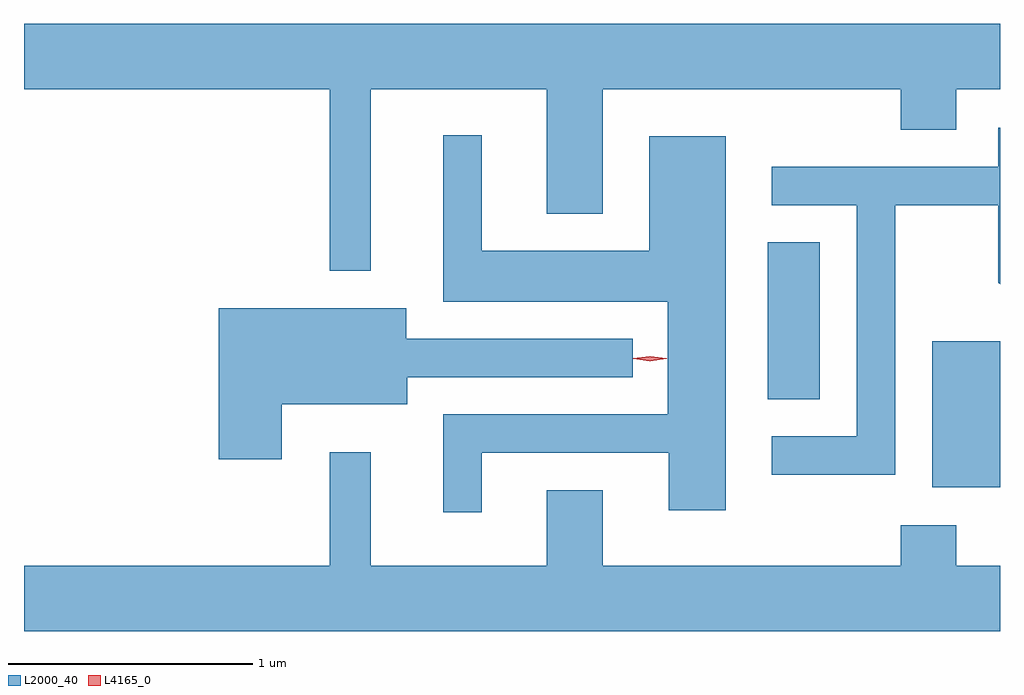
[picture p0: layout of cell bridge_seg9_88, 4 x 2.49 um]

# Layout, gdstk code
import gdstk
lib = gdstk.Library(unit=1e-6, precision=1e-09)
def R(c, l, rs):  # rectangles x0, y0, x1, y1
    for r in rs: c.add(gdstk.rectangle(r[:2], r[2:], *l))
def P(c, l, *ps):  # polygons
    for p in ps: c.add(gdstk.Polygon(p, *l))
L2000_40 = (2000, 40)
L4165_0 = (4165, 0)

bridge_seg9_88 = lib.new_cell('bridge_seg9_88')
R(bridge_seg9_88, L2000_40, [(1798.831,1979.086,1799.108,1979.684), (1798.156,1979.446,1798.369,1980.089)])
P(bridge_seg9_88, L2000_40, [(1796.529,1980.716),(1797.251,1980.716),(1797.251,1980.206),(1797.479,1980.206),(1797.479,1980.716),(1798.701,1980.716),(1798.701,1980.551),(1798.929,1980.551),(1798.929,1980.716),(1799.108,1980.716),(1799.108,1980.984),(1795.108,1980.984),(1795.108,1980.716),(1796.361,1980.716),(1796.361,1979.973),(1796.529,1979.973)],
  [(1798.679,1980.241),(1799.101,1980.241),(1799.101,1979.924),(1799.108,1979.917),(1799.108,1980.559),(1799.101,1980.559),(1799.101,1980.399),(1798.173,1980.399),(1798.173,1980.241),(1798.521,1980.241),(1798.521,1979.294),(1798.173,1979.294),(1798.173,1979.136),(1798.679,1979.136)],
  [(1796.984,1979.226),(1797.751,1979.226),(1797.751,1978.991),(1797.984,1978.991),(1797.984,1980.524),(1797.671,1980.524),(1797.671,1980.054),(1796.984,1980.054),(1796.984,1980.528),(1796.826,1980.528),(1796.826,1979.846),(1797.746,1979.846),(1797.746,1979.384),(1796.826,1979.384),(1796.826,1978.983),(1796.984,1978.983)],
  [(1796.164,1979.426),(1796.679,1979.426),(1796.679,1979.536),(1797.603,1979.536),(1797.603,1979.694),(1796.674,1979.694),(1796.674,1979.819),(1795.906,1979.819),(1795.906,1979.201),(1796.164,1979.201)],
  [(1799.108,1978.764),(1798.929,1978.764),(1798.929,1978.929),(1798.701,1978.929),(1798.701,1978.764),(1797.479,1978.764),(1797.479,1979.074),(1797.251,1979.074),(1797.251,1978.764),(1796.529,1978.764),(1796.529,1979.228),(1796.361,1979.228),(1796.361,1978.764),(1795.108,1978.764),(1795.108,1978.496),(1799.108,1978.496)])
P(bridge_seg9_88, L4165_0, [(1797.673,1979.602),(1797.604,1979.612),(1797.603,1979.612),(1797.604,1979.613),(1797.673,1979.622),(1797.742,1979.613),(1797.743,1979.612),(1797.742,1979.612)],
  [(1797.674,1979.602),(1797.607,1979.612),(1797.607,1979.612),(1797.607,1979.613),(1797.674,1979.622),(1797.74,1979.613),(1797.74,1979.612),(1797.74,1979.612)])

lib.write_gds('bridge_seg9_88.gds')
